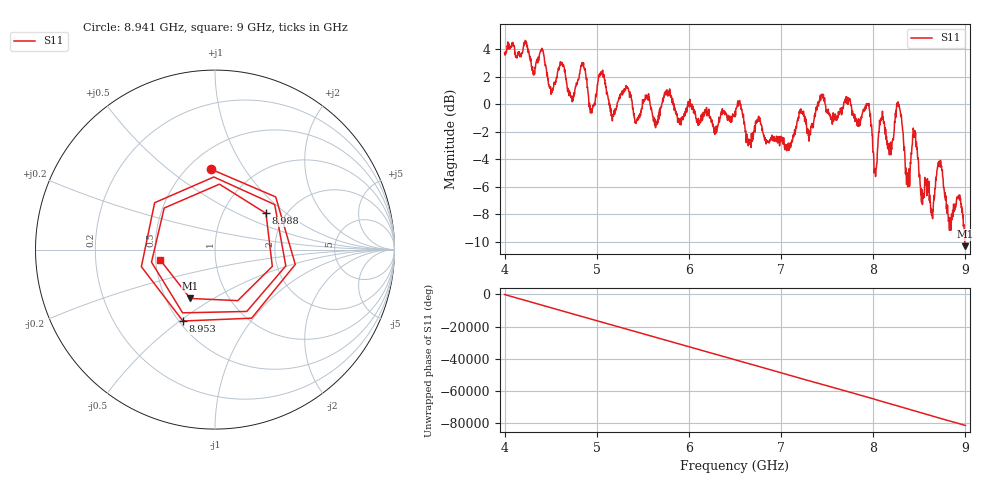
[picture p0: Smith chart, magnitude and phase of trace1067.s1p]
! Created with skrf 1.8.0 (http://scikit-rf.org).
# Hz S RI R 50.0
!freq ReS11 ImS11
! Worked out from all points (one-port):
!   1601 points, 4 GHz to 9 GHz, reference 50 ohm
!   lowest |S11| = -10.3 dB at 8.997 GHz (marker M1), VSWR 1.88, Z = 33.1 - j19.9 ohm
!   |S11| at or under -10 dB: 8.993295 GHz to end of sweep
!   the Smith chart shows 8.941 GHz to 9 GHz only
!   S11 on the Smith chart (normalised r, x): 8.941 GHz: 0.64, +0.72; 8.953 GHz: 0.52, -0.51; 8.988 GHz: 1.59, +0.73; 9 GHz: 0.53, -0.07
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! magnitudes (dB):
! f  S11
! 4 GHz  3.8
! 4.406 GHz  4.0
! 4.506 GHz  0.9
! 4.625 GHz  3.1
! 4.731 GHz  0.6
! 4.853 GHz  2.8
! 4.941 GHz  -0.3
! 5.044 GHz  2.3
! 5.25 GHz  0.7
! 5.875 GHz  -1.0
! 6.5 GHz  -0.9
! 7.125 GHz  -2.5
! 7.75 GHz  0.4
! 7.944 GHz  0.0
! 8.022 GHz  -5.1
! 8.084 GHz  -1.0
! 8.181 GHz  -3.7
! 8.278 GHz  0.0
! 8.375 GHz  -6.0
! 8.447 GHz  -2.2
! 8.634 GHz  -8.1
! 8.716 GHz  -4.5
! 8.828 GHz  -9.2
! 8.941 GHz  -7.0
! 8.953 GHz  -7.2
! 8.988 GHz  -9.2
! 8.997 GHz  -10.3
! 9 GHz  -10.1
